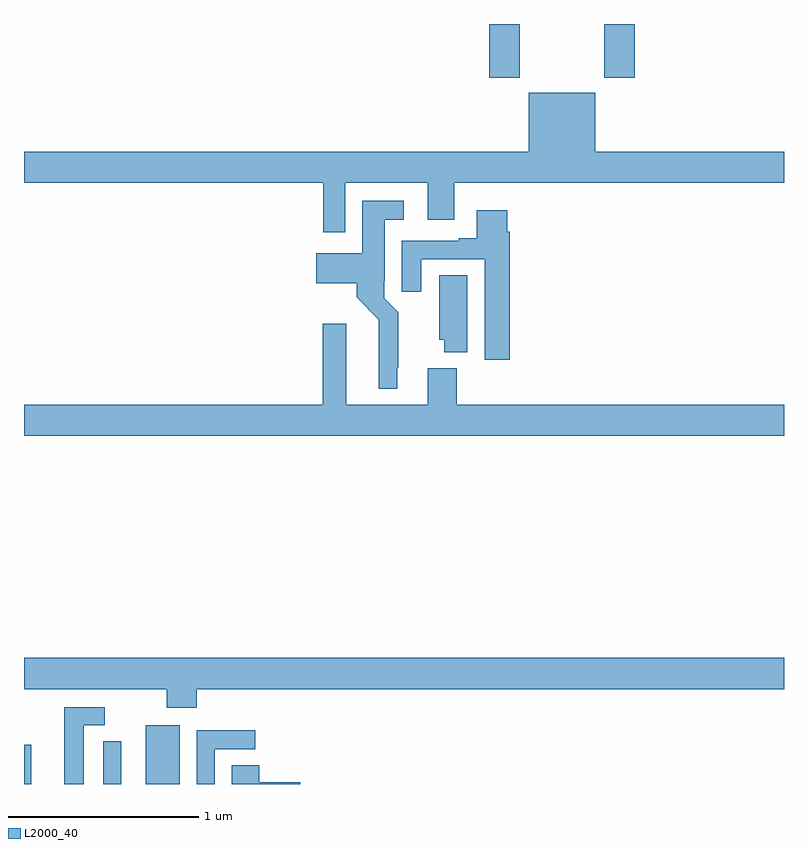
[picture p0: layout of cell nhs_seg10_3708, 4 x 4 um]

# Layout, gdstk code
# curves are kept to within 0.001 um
import gdstk
lib = gdstk.Library(unit=1e-6, precision=1e-09)
def R(c, l, rs):  # rectangles x0, y0, x1, y1
    for r in rs: c.add(gdstk.rectangle(r[:2], r[2:], *l))
def P(c, l, *ps):  # polygons
    for p in ps: c.add(gdstk.Polygon(p, *l))
L2000_40 = (2000, 40)

nhs_seg10_3708 = lib.new_cell('nhs_seg10_3708')
R(nhs_seg10_3708, L2000_40, [(313,1282.5,313.039,1282.707), (313.64,1282.5,313.819,1282.81), (315.449,1286.217,315.609,1286.5), (316.054,1286.217,316.214,1286.5)])
P(nhs_seg10_3708, L2000_40, [(314.691,1285.664),(315.125,1285.664),(315.125,1285.47),(315.265,1285.47),(315.265,1285.664),(317,1285.664),(317,1285.828),(316.006,1285.828),(316.006,1286.137),(315.656,1286.137),(315.656,1285.828),(313,1285.828),(313,1285.664),(314.575,1285.664),(314.575,1285.404),(314.691,1285.404)],
  [(314.965,1284.691),(314.969,1284.691),(314.969,1284.982),(314.895,1285.056),(314.895,1285.15),(314.899,1285.15),(314.899,1285.469),(314.998,1285.469),(314.998,1285.57),(314.78,1285.57),(314.78,1285.294),(314.538,1285.294),(314.538,1285.136),(314.75,1285.136),(314.75,1285.062),(314.868,1284.944),(314.867,1284.581),(314.965,1284.581)],
  [(315.557,1285.406),(315.544,1285.406),(315.544,1285.519),(315.383,1285.519),(315.383,1285.372),(315.287,1285.372),(315.287,1285.359),(314.987,1285.359),(314.987,1285.092),(315.091,1285.092),(315.091,1285.263),(315.425,1285.263),(315.425,1284.732),(315.557,1284.732)],
  [(315.334,1285.178),(315.185,1285.178),(315.185,1284.837),(315.212,1284.837),(315.212,1284.773),(315.334,1284.773)],
  [(317,1284.496),(315.278,1284.496),(315.278,1284.688),(315.125,1284.688),(315.125,1284.496),(314.695,1284.496),(314.695,1284.922),(314.573,1284.922),(314.573,1284.496),(313,1284.496),(313,1284.332),(317,1284.332)],
  [(313.91,1283),(317,1283),(317,1283.164),(313,1283.164),(313,1283),(313.75,1283),(313.75,1282.901),(313.91,1282.901)],
  [(313.315,1282.809),(313.426,1282.809),(313.426,1282.905),(313.211,1282.905),(313.211,1282.5),(313.315,1282.5)],
  [(314.004,1282.683),(314.218,1282.683),(314.218,1282.782),(313.908,1282.782),(313.908,1282.5),(314.004,1282.5)],
  [(313.511,1282.57),(313.512,1282.57),(313.512,1282.724),(313.416,1282.724),(313.416,1282.5),(313.511,1282.5)],
  [(314.455,1282.508),(314.237,1282.508),(314.237,1282.598),(314.093,1282.598),(314.093,1282.5),(314.455,1282.5)])

lib.write_gds('nhs_seg10_3708.gds')
